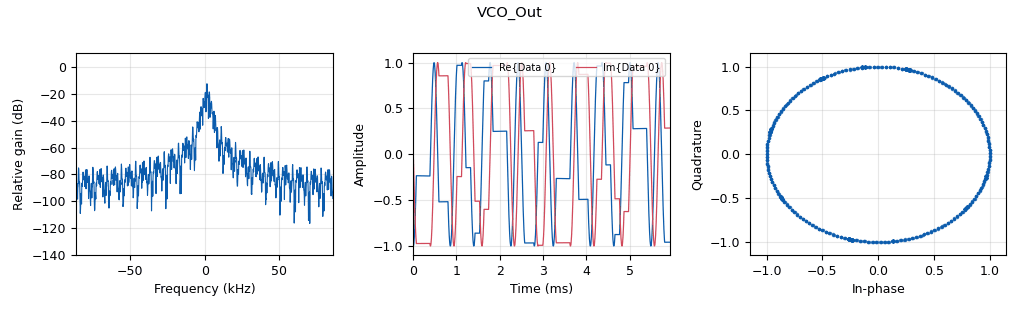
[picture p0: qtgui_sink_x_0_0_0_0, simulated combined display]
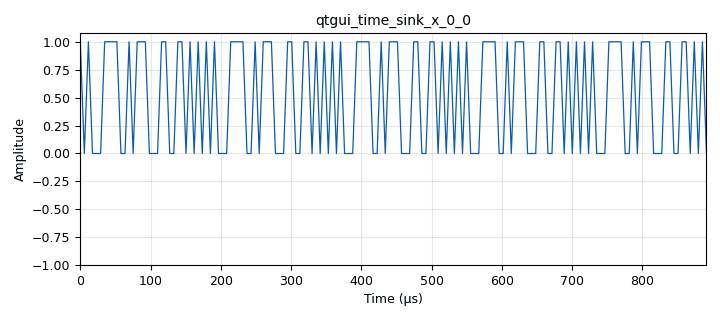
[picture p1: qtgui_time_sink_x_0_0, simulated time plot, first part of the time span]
<?xml version='1.0' encoding='utf-8'?>
<?grc format='1' created='3.7.13'?>
<flow_graph>
<block>
<key>options</key>
<param><key>id</key><value>X_FSK</value></param>
<param><key>author</key><value>Erik Buer</value></param>
<param><key>generate_options</key><value>qt_gui</value></param>
<param><key>title</key><value>X_FSK</value></param>
</block>
<block>
<key>variable</key>
<param><key>id</key><value>IF_FREQ_BIAS</value></param>
<param><key>value</key><value>-1.5</value></param>
</block>
<block>
<key>variable</key>
<param><key>id</key><value>IF_SPACING</value></param>
<param><key>value</key><value>3e3</value></param>
</block>
<block>
<key>variable</key>
<param><key>id</key><value>SYMB_LEN</value></param>
<param><key>value</key><value>samp_rate/SYMB_RATE</value></param>
</block>
<block>
<key>variable</key>
<param><key>id</key><value>SYMB_RATE</value></param>
<param><key>value</key><value>9600</value></param>
</block>
<block>
<key>variable</key>
<param><key>id</key><value>packet_len</value></param>
<param><key>value</key><value>1</value></param>
</block>
<block>
<key>variable</key>
<param><key>id</key><value>samp_rate</value></param>
<param><key>value</key><value>172800</value></param>
</block>
<block>
<key>analog_frequency_modulator_fc</key>
<param><key>id</key><value>analog_frequency_modulator_fc_0</value></param>
<param><key>sensitivity</key><value>(2*math.pi)/samp_rate</value></param>
</block>
<block>
<key>analog_pwr_squelch_xx</key>
<param><key>id</key><value>analog_pwr_squelch_xx_0</value></param>
<param><key>alpha</key><value>1e-4</value></param>
<param><key>comment</key><value>"Gate"</value></param>
<param><key>gate</key><value>True</value></param>
<param><key>ramp</key><value>0</value></param>
<param><key>threshold</key><value>-40</value></param>
<param><key>type</key><value>complex</value></param>
</block>
<block>
<key>analog_quadrature_demod_cf</key>
<param><key>id</key><value>analog_quadrature_demod_cf_0</value></param>
<param><key>gain</key><value>samp_rate/(2*math.pi*3e3/8.0)</value></param>
</block>
<block>
<key>blocks_char_to_float</key>
<param><key>id</key><value>blocks_char_to_float_0</value></param>
<param><key>scale</key><value>1</value></param>
</block>
<block>
<key>blocks_char_to_float</key>
<param><key>id</key><value>blocks_char_to_float_1</value></param>
<param><key>_enabled</key><value>0</value></param>
<param><key>scale</key><value>1</value></param>
</block>
<block>
<key>blocks_file_sink</key>
<param><key>id</key><value>blocks_file_sink_0</value></param>
<param><key>_enabled</key><value>0</value></param>
<param><key>file</key><value>C:\Users\buer9\Google Drive\ELSYS\Student_defined_project\Gnu_radio\Ground_Station\file_sink\output.bin</value></param>
<param><key>type</key><value>complex</value></param>
</block>
<block>
<key>blocks_file_sink</key>
<param><key>id</key><value>blocks_file_sink_0_0</value></param>
<param><key>_enabled</key><value>0</value></param>
<param><key>file</key><value>C:\Users\buer9\Google Drive\ELSYS\Student_defined_project\Gnu_radio\Ground_Station\file_sink\complex_binary_feed.bin</value></param>
<param><key>type</key><value>float</value></param>
</block>
<block>
<key>blocks_file_sink</key>
<param><key>id</key><value>blocks_file_sink_0_1</value></param>
<param><key>_enabled</key><value>0</value></param>
<param><key>file</key><value>C:\Users\buer9\Google Drive\ELSYS\Student_defined_project\Gnu_radio\Ground_Station\file_sink\receive_float.bin</value></param>
<param><key>type</key><value>float</value></param>
</block>
<block>
<key>blocks_file_sink</key>
<param><key>id</key><value>blocks_file_sink_0_1_0</value></param>
<param><key>_enabled</key><value>0</value></param>
<param><key>file</key><value>C:\Users\buer9\Google Drive\ELSYS\Student_defined_project\Gnu_radio\Ground_Station\file_sink\Receive_Complex_Waveform.bin</value></param>
<param><key>type</key><value>complex</value></param>
</block>
<block>
<key>blocks_file_sink</key>
<param><key>id</key><value>blocks_file_sink_1</value></param>
<param><key>file</key><value>C:\Users\buer9\Google Drive\ELSYS\Student_defined_project\Gnu_radio\Ground_Station\file_sink\Received_data.bin</value></param>
<param><key>type</key><value>byte</value></param>
</block>
<block>
<key>blocks_message_debug</key>
<param><key>id</key><value>blocks_message_debug_0_0</value></param>
<param><key>_enabled</key><value>0</value></param>
</block>
<block>
<key>blocks_message_debug</key>
<param><key>id</key><value>blocks_message_debug_0_0_0</value></param>
</block>
<block>
<key>blocks_moving_average_xx</key>
<param><key>id</key><value>blocks_moving_average_xx_0</value></param>
<param><key>length</key><value>SYMB_LEN</value></param>
<param><key>max_iter</key><value>4000</value></param>
<param><key>scale</key><value>0.01</value></param>
<param><key>type</key><value>float</value></param>
</block>
<block>
<key>blocks_pdu_to_tagged_stream</key>
<param><key>id</key><value>blocks_pdu_to_tagged_stream_0</value></param>
<param><key>_enabled</key><value>0</value></param>
<param><key>type</key><value>float</value></param>
<param><key>tag</key><value>packet_len</value></param>
</block>
<block>
<key>blocks_pdu_to_tagged_stream</key>
<param><key>id</key><value>blocks_pdu_to_tagged_stream_1</value></param>
<param><key>type</key><value>byte</value></param>
<param><key>tag</key><value>packet_len</value></param>
</block>
<block>
<key>blocks_repeat</key>
<param><key>id</key><value>blocks_repeat_0</value></param>
<param><key>interp</key><value>SYMB_LEN</value></param>
<param><key>type</key><value>float</value></param>
</block>
<block>
<key>blocks_tagged_stream_to_pdu</key>
<param><key>id</key><value>blocks_tagged_stream_to_pdu_1</value></param>
<param><key>_enabled</key><value>0</value></param>
<param><key>type</key><value>byte</value></param>
<param><key>tag</key><value>packet_len</value></param>
</block>
<block>
<key>blocks_throttle</key>
<param><key>id</key><value>blocks_throttle_0</value></param>
<param><key>_enabled</key><value>2</value></param>
<param><key>samples_per_second</key><value>samp_rate</value></param>
<param><key>type</key><value>complex</value></param>
</block>
<block>
<key>blocks_vector_source_x</key>
<param><key>id</key><value>blocks_vector_source_x_1</value></param>
<param><key>type</key><value>float</value></param>
<param><key>repeat</key><value>True</value></param>
<param><key>vector</key><value>(1,0,1,0,1,0,0,0,1,1,1,1,0,0,1,0,1,1,1,0,0,0,1,1,0,0,1,1,0,1,0)</value></param>
</block>
<block>
<key>channels_channel_model</key>
<param><key>id</key><value>channels_channel_model_0</value></param>
<param><key>epsilon</key><value>1.0</value></param>
<param><key>freq_offset</key><value>70e3</value></param>
<param><key>noise_voltage</key><value>0.1</value></param>
<param><key>seed</key><value>0</value></param>
<param><key>taps</key><value>1.0 + 1.0j</value></param>
</block>
<block>
<key>dc_blocker_xx</key>
<param><key>id</key><value>dc_blocker_xx_0</value></param>
<param><key>length</key><value>8*SYMB_LEN</value></param>
<param><key>long_form</key><value>True</value></param>
<param><key>type</key><value>ff</value></param>
</block>
<block>
<key>digital_binary_slicer_fb</key>
<param><key>id</key><value>digital_binary_slicer_fb_0</value></param>
</block>
<block>
<key>digital_clock_recovery_mm_xx</key>
<param><key>id</key><value>digital_clock_recovery_mm_xx_0</value></param>
<param><key>gain_mu</key><value>0.175</value></param>
<param><key>gain_omega</key><value>0.25*0.175*0.175</value></param>
<param><key>mu</key><value>0.5</value></param>
<param><key>omega_relative_limit</key><value>0.005</value></param>
<param><key>omega</key><value>SYMB_LEN*(1+0.0)</value></param>
<param><key>type</key><value>float</value></param>
</block>
<block>
<key>digital_hdlc_deframer_bp</key>
<param><key>id</key><value>digital_hdlc_deframer_bp_0</value></param>
<param><key>_enabled</key><value>0</value></param>
<param><key>max</key><value>500</value></param>
<param><key>min</key><value>1</value></param>
</block>
<block>
<key>digital_hdlc_deframer_bp</key>
<param><key>id</key><value>digital_hdlc_deframer_bp_0_0</value></param>
<param><key>max</key><value>500</value></param>
<param><key>min</key><value>1</value></param>
</block>
<block>
<key>digital_hdlc_framer_pb</key>
<param><key>id</key><value>digital_hdlc_framer_pb_0</value></param>
<param><key>_enabled</key><value>0</value></param>
</block>
<block>
<key>epy_block</key>
<param><key>id</key><value>epy_block_0</value></param>
<param><key>Accumulate_Const</key><value>IF_FREQ_BIAS</value></param>
<param><key>_source_code</key><value>import numpy as np
from gnuradio import gr


class blk(gr.sync_block):
    def __init__(self, Multiplication_Const=1.0, Accumulate_Const=1.0):
        """arguments to this function show up as parameters in GRC"""
        gr.sync_block.__init__(
            self,
            name='Multiply Accumulate',   	# Name of block. Will show up in GRC
            in_sig=[np.single],				# Make input a single precision floating point
            out_sig=[np.single]				# Make output a single precision floating point
        )

        self.Multiplication_Const = Multiplication_Const
        self.Accumulate_Const = Accumulate_Const


    def work(self, input_items, output_items):
        """example: multiply with constant"""
        output_items[0][:] = (input_items[0] * self.Multiplication_Const) + self.Accumulate_Const
        return len(output_items[0])
</value></param>
<param><key>Multiplication_Const</key><value>IF_SPACING</value></param>
</block>
<block>
<key>epy_block</key>
<param><key>id</key><value>epy_block_0_0</value></param>
<param><key>_source_code</key><value>"""
Embedded Python Blocks:

Each time this file is saved, GRC will instantiate the first class it finds
to get ports and parameters of your block. The arguments to __init__  will
be the parameters. All of them are required to have default values!
"""

import numpy as np
import pylab
from gnuradio import gr
import pmt


class msg_block(gr.basic_block):  # other base classes are basic_block, decim_block, interp_block
    """This block converts strings from the QT GUI Message Edit Box to uint8 vectors"""

    def __init__(self):  # only default arguments here
        """arguments to this function show up as parameters in GRC"""
        gr.basic_block.__init__(
            self,
            name='String to uint8',   # will show up in GRC
            in_sig=None,
            out_sig=None
        )
        self.message_port_register_out(pmt.intern('msg_out'))
        self.message_port_register_in(pmt.intern('msg_in'))
        self.set_msg_handler(pmt.intern('msg_in'), self.handle_msg)
    
    def handle_msg(self, msg):
        nvec = pmt.to_python(msg)
        a = self.message_port_pub(pmt.intern('msg_out'), pmt.cons(pmt.make_dict(), pmt.pmt_to_python.numpy_to_uvector(np.array([ord(c) for c in nvec], np.uint8))))
    def work(self, input_items, output_items):
        pass</value></param>
<param><key>_enabled</key><value>0</value></param>
</block>
<block>
<key>qtgui_edit_box_msg</key>
<param><key>id</key><value>qtgui_edit_box_msg_0</value></param>
<param><key>_enabled</key><value>0</value></param>
<param><key>is_pair</key><value>False</value></param>
<param><key>is_static</key><value>False</value></param>
<param><key>type</key><value>string</value></param>
</block>
<block>
<key>qtgui_sink_x</key>
<param><key>id</key><value>qtgui_sink_x_0_0</value></param>
<param><key>bw</key><value>samp_rate</value></param>
<param><key>fc</key><value>0</value></param>
<param><key>freqchangevar</key><value>None</value></param>
<param><key>_enabled</key><value>0</value></param>
<param><key>fftsize</key><value>1024</value></param>
<param><key>showports</key><value>True</value></param>
<param><key>type</key><value>float</value></param>
<param><key>wintype</key><value>firdes.WIN_BLACKMAN_hARRIS</value></param>
</block>
<block>
<key>qtgui_sink_x</key>
<param><key>id</key><value>qtgui_sink_x_0_0_0_0</value></param>
<param><key>bw</key><value>samp_rate</value></param>
<param><key>fc</key><value>0</value></param>
<param><key>freqchangevar</key><value>None</value></param>
<param><key>fftsize</key><value>1024</value></param>
<param><key>name</key><value>"VCO_Out"</value></param>
<param><key>showports</key><value>True</value></param>
<param><key>type</key><value>complex</value></param>
<param><key>wintype</key><value>firdes.WIN_BLACKMAN_hARRIS</value></param>
</block>
<block>
<key>qtgui_time_sink_x</key>
<param><key>id</key><value>qtgui_time_sink_x_0_0</value></param>
<param><key>color1</key><value>"blue"</value></param>
<param><key>label1</key><value></value></param>
<param><key>size</key><value>1024</value></param>
<param><key>srate</key><value>samp_rate</value></param>
<param><key>type</key><value>float</value></param>
</block>
<connection><source_block_id>analog_frequency_modulator_fc_0</source_block_id><sink_block_id>blocks_file_sink_0</sink_block_id><source_key>0</source_key><sink_key>0</sink_key></connection>
<connection><source_block_id>analog_frequency_modulator_fc_0</source_block_id><sink_block_id>blocks_throttle_0</sink_block_id><source_key>0</source_key><sink_key>0</sink_key></connection>
<connection><source_block_id>analog_frequency_modulator_fc_0</source_block_id><sink_block_id>qtgui_sink_x_0_0_0_0</sink_block_id><source_key>0</source_key><sink_key>0</sink_key></connection>
<connection><source_block_id>analog_pwr_squelch_xx_0</source_block_id><sink_block_id>analog_quadrature_demod_cf_0</sink_block_id><source_key>0</source_key><sink_key>0</sink_key></connection>
<connection><source_block_id>analog_pwr_squelch_xx_0</source_block_id><sink_block_id>blocks_file_sink_0_1_0</sink_block_id><source_key>0</source_key><sink_key>0</sink_key></connection>
<connection><source_block_id>analog_quadrature_demod_cf_0</source_block_id><sink_block_id>blocks_file_sink_0_1</sink_block_id><source_key>0</source_key><sink_key>0</sink_key></connection>
<connection><source_block_id>analog_quadrature_demod_cf_0</source_block_id><sink_block_id>dc_blocker_xx_0</sink_block_id><source_key>0</source_key><sink_key>0</sink_key></connection>
<connection><source_block_id>blocks_char_to_float_0</source_block_id><sink_block_id>qtgui_time_sink_x_0_0</sink_block_id><source_key>0</source_key><sink_key>0</sink_key></connection>
<connection><source_block_id>blocks_char_to_float_1</source_block_id><sink_block_id>blocks_repeat_0</sink_block_id><source_key>0</source_key><sink_key>0</sink_key></connection>
<connection><source_block_id>blocks_char_to_float_1</source_block_id><sink_block_id>qtgui_sink_x_0_0</sink_block_id><source_key>0</source_key><sink_key>0</sink_key></connection>
<connection><source_block_id>blocks_moving_average_xx_0</source_block_id><sink_block_id>digital_clock_recovery_mm_xx_0</sink_block_id><source_key>0</source_key><sink_key>0</sink_key></connection>
<connection><source_block_id>blocks_pdu_to_tagged_stream_0</source_block_id><sink_block_id>blocks_repeat_0</sink_block_id><source_key>0</source_key><sink_key>0</sink_key></connection>
<connection><source_block_id>blocks_pdu_to_tagged_stream_0</source_block_id><sink_block_id>qtgui_sink_x_0_0</sink_block_id><source_key>0</source_key><sink_key>0</sink_key></connection>
<connection><source_block_id>blocks_pdu_to_tagged_stream_1</source_block_id><sink_block_id>blocks_file_sink_1</sink_block_id><source_key>0</source_key><sink_key>0</sink_key></connection>
<connection><source_block_id>blocks_repeat_0</source_block_id><sink_block_id>blocks_file_sink_0_0</sink_block_id><source_key>0</source_key><sink_key>0</sink_key></connection>
<connection><source_block_id>blocks_repeat_0</source_block_id><sink_block_id>epy_block_0</sink_block_id><source_key>0</source_key><sink_key>0</sink_key></connection>
<connection><source_block_id>blocks_tagged_stream_to_pdu_1</source_block_id><sink_block_id>blocks_pdu_to_tagged_stream_0</sink_block_id><source_key>pdus</source_key><sink_key>pdus</sink_key></connection>
<connection><source_block_id>blocks_throttle_0</source_block_id><sink_block_id>channels_channel_model_0</sink_block_id><source_key>0</source_key><sink_key>0</sink_key></connection>
<connection><source_block_id>blocks_vector_source_x_1</source_block_id><sink_block_id>blocks_repeat_0</sink_block_id><source_key>0</source_key><sink_key>0</sink_key></connection>
<connection><source_block_id>channels_channel_model_0</source_block_id><sink_block_id>analog_pwr_squelch_xx_0</sink_block_id><source_key>0</source_key><sink_key>0</sink_key></connection>
<connection><source_block_id>dc_blocker_xx_0</source_block_id><sink_block_id>blocks_moving_average_xx_0</sink_block_id><source_key>0</source_key><sink_key>0</sink_key></connection>
<connection><source_block_id>digital_binary_slicer_fb_0</source_block_id><sink_block_id>blocks_char_to_float_0</sink_block_id><source_key>0</source_key><sink_key>0</sink_key></connection>
<connection><source_block_id>digital_binary_slicer_fb_0</source_block_id><sink_block_id>digital_hdlc_deframer_bp_0_0</sink_block_id><source_key>0</source_key><sink_key>0</sink_key></connection>
<connection><source_block_id>digital_clock_recovery_mm_xx_0</source_block_id><sink_block_id>digital_binary_slicer_fb_0</sink_block_id><source_key>0</source_key><sink_key>0</sink_key></connection>
<connection><source_block_id>digital_hdlc_deframer_bp_0</source_block_id><sink_block_id>blocks_message_debug_0_0</sink_block_id><source_key>out</source_key><sink_key>print_pdu</sink_key></connection>
<connection><source_block_id>digital_hdlc_deframer_bp_0_0</source_block_id><sink_block_id>blocks_message_debug_0_0_0</sink_block_id><source_key>out</source_key><sink_key>print_pdu</sink_key></connection>
<connection><source_block_id>digital_hdlc_deframer_bp_0_0</source_block_id><sink_block_id>blocks_pdu_to_tagged_stream_1</sink_block_id><source_key>out</source_key><sink_key>pdus</sink_key></connection>
<connection><source_block_id>digital_hdlc_framer_pb_0</source_block_id><sink_block_id>blocks_char_to_float_1</sink_block_id><source_key>0</source_key><sink_key>0</sink_key></connection>
<connection><source_block_id>digital_hdlc_framer_pb_0</source_block_id><sink_block_id>digital_hdlc_deframer_bp_0</sink_block_id><source_key>0</source_key><sink_key>0</sink_key></connection>
<connection><source_block_id>epy_block_0</source_block_id><sink_block_id>analog_frequency_modulator_fc_0</sink_block_id><source_key>0</source_key><sink_key>0</sink_key></connection>
<connection><source_block_id>epy_block_0_0</source_block_id><sink_block_id>digital_hdlc_framer_pb_0</sink_block_id><source_key>msg_out</source_key><sink_key>in</sink_key></connection>
<connection><source_block_id>qtgui_edit_box_msg_0</source_block_id><sink_block_id>epy_block_0_0</sink_block_id><source_key>msg</source_key><sink_key>msg_in</sink_key></connection>
</flow_graph>
